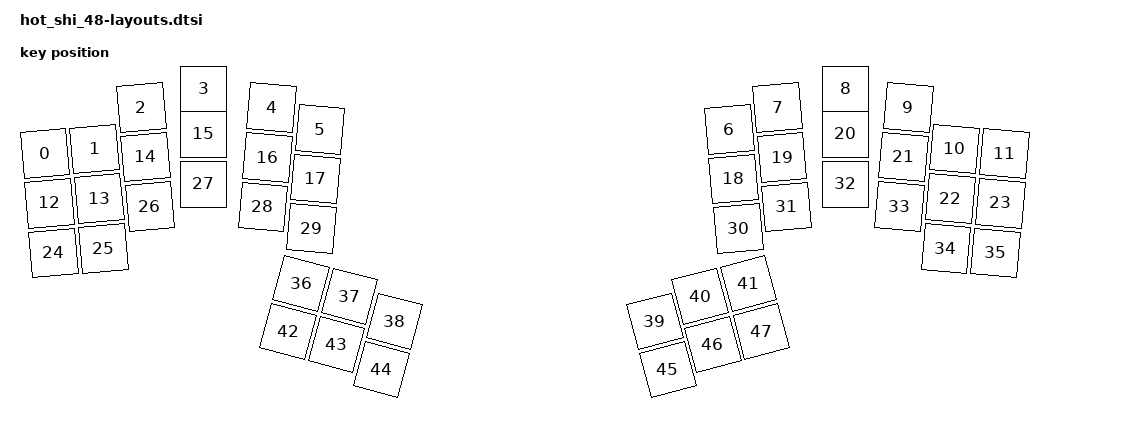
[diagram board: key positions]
// See https://zmk.dev/docs/development/hardware-integration/physical-layouts
// for how to configure this in your shield.

#include <physical_layouts.dtsi>

/ {
    default_layout: default_layout {
        compatible = "zmk,physical-layout";
        display-name = "Default Layout";
        transform = <&default_transform>; // Update to match your matrix transform
        kscan = <&kscan>;                 // Update to match your kscan node

        keys 
            // ==================== ROW 1 (TOP) ====================
            // --- Left Half ---
            = <&key_physical_attrs 100 100    0  125 (-500)  100    0> // Left Outer Pinky Top (Esc)
            , <&key_physical_attrs 100 100  100  125 (-500)  100    0> // Left Pinky Top (Q)
            , <&key_physical_attrs 100 100  200   50 (-500)  100    0> // Left Ring Top (W)
            , <&key_physical_attrs 100 100  333    0      0  100    0> // Left Middle Top (F)
            , <&key_physical_attrs 100 100  475    0    500  100    0> // Left Index Top (P)
            , <&key_physical_attrs 100 100  575   35    500  100    0> // Left Inner Index Top (G)
            // --- Right Half ---
            , <&key_physical_attrs 100 100 1375   35 (-500) 1950    0> // Right Inner Index Top (L)
            , <&key_physical_attrs 100 100 1475    0 (-500) 1950    0> // Right Index Top (Y)
            , <&key_physical_attrs 100 100 1617    0      0 1950    0> // Right Middle Top (U)
            , <&key_physical_attrs 100 100 1750   50    500 1950    0> // Right Ring Top (I)
            , <&key_physical_attrs 100 100 1850  125    500 1950    0> // Right Pinky Top (Scln)
            , <&key_physical_attrs 100 100 1950  125    500 1950    0> // Right Outer Pinky Top (Del)

            // ==================== ROW 2 (HOME) ====================
            // --- Left Half ---
            , <&key_physical_attrs 100 100    0  225 (-500)  100    0> // Left Outer Pinky Home (Shft)
            , <&key_physical_attrs 100 100  100  225 (-500)  100    0> // Left Pinky Home (A)
            , <&key_physical_attrs 100 100  200  150 (-500)  100    0> // Left Ring Home (R)
            , <&key_physical_attrs 100 100  333   90      0  100    0> // Left Middle Home (S)
            , <&key_physical_attrs 100 100  475  100    500  100    0> // Left Index Home (T)
            , <&key_physical_attrs 100 100  575  135    500  100    0> // Left Inner Index Home (D)
            // --- Right Half ---
            , <&key_physical_attrs 100 100 1375  135 (-500) 1950    0> // Right Inner Index Home (H)
            , <&key_physical_attrs 100 100 1475  100 (-500) 1950    0> // Right Index Home (N)
            , <&key_physical_attrs 100 100 1617   90      0 1950    0> // Right Middle Home (E)
            , <&key_physical_attrs 100 100 1750  150    500 1950    0> // Right Ring Home (O)
            , <&key_physical_attrs 100 100 1850  225    500 1950    0> // Right Pinky Home (Quote)
            , <&key_physical_attrs 100 100 1950  225    500 1950    0> // Right Outer Pinky Home (Quote)

            // ==================== ROW 3 (BOTTOM) ====================
            // --- Left Half ---
            , <&key_physical_attrs 100 100    0  325 (-500)  100    0> // Left Outer Pinky Bot (Ctrl)
            , <&key_physical_attrs 100 100  100  325 (-500)  100    0> // Left Pinky Bot (Z)
            , <&key_physical_attrs 100 100  200  250 (-500)  100    0> // Left Ring Bot (X)
            , <&key_physical_attrs 100 100  333  190      0  100    0> // Left Middle Bot (C)
            , <&key_physical_attrs 100 100  475  200    500  100    0> // Left Index Bot (V)
            , <&key_physical_attrs 100 100  575  235    500  100    0> // Left Inner Index Bot (B)
            // --- Right Half ---
            , <&key_physical_attrs 100 100 1375  235 (-500) 1950    0> // Right Inner Index Bot (K)
            , <&key_physical_attrs 100 100 1475  200 (-500) 1950    0> // Right Index Bot (M)
            , <&key_physical_attrs 100 100 1617  190      0 1950    0> // Right Middle Bot (Comma)
            , <&key_physical_attrs 100 100 1750  250    500 1950    0> // Right Ring Bot (Dot)
            , <&key_physical_attrs 100 100 1850  325    500 1950    0> // Right Pinky Bot (Slash)
            , <&key_physical_attrs 100 100 1950  325    500 1950    0> // Right Outer Pinky Bot (Shft)

            // ==================== THUMB CLUSTER ROW 1 (TOP) ====================
            // --- Left Half ---
            , <&key_physical_attrs 100 100  625  250   1500  100    0> // Left Thumb Top-Left
            , <&key_physical_attrs 100 100  725  250   1500  100    0> // Left Thumb Top-Mid
            , <&key_physical_attrs 100 100  825  275   1500  100    0> // Left Thumb Top-Right
            // --- Right Half ---
            , <&key_physical_attrs 100 100 1125  275 (-1500) 1950    0> // Right Thumb Top-Left
            , <&key_physical_attrs 100 100 1225  250 (-1500) 1950    0> // Right Thumb Top-Mid
            , <&key_physical_attrs 100 100 1325  250 (-1500) 1950    0> // Right Thumb Top-Right

            // ==================== THUMB CLUSTER ROW 2 (BOTTOM) ====================
            // --- Left Half ---
            , <&key_physical_attrs 100 100  625  350   1500  100    0> // Left Thumb Bot-Left
            , <&key_physical_attrs 100 100  725  350   1500  100    0> // Left Thumb Bot-Mid
            , <&key_physical_attrs 100 100  825  375   1500  100    0> // Left Thumb Bot-Right
            // --- Right Half ---
            , <&key_physical_attrs 100 100 1125  375 (-1500) 1950    0> // Right Thumb Bot-Left
            , <&key_physical_attrs 100 100 1225  350 (-1500) 1950    0> // Right Thumb Bot-Mid
            , <&key_physical_attrs 100 100 1325  350 (-1500) 1950    0> // Right Thumb Bot-Right
            ;
    };
};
